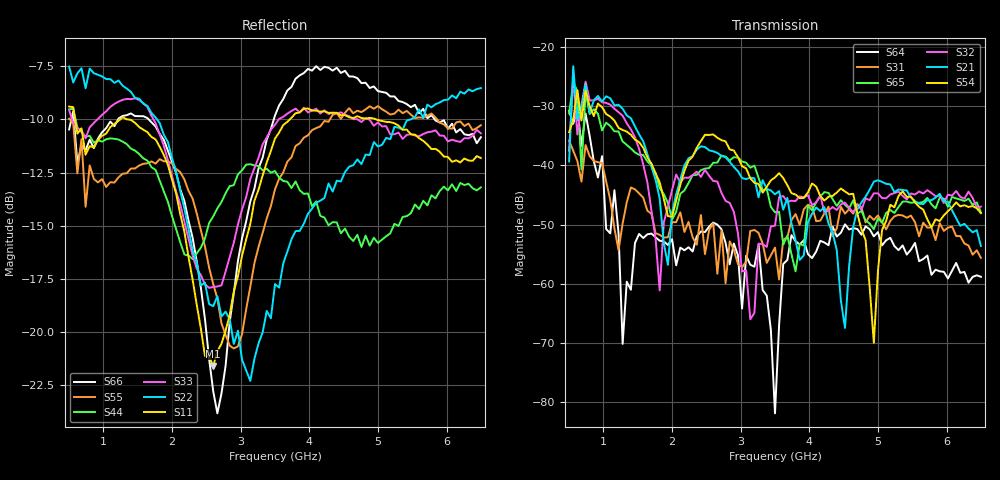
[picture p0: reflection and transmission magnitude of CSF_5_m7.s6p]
!Keysight Technologies,M9804A,MY58100912,A.14.10.03
!Date: Thursday, April 27, 2023 10:28:33
!Correction: S11(C  6-Port  )
!S12(C  6-Port  )
!S13(C  6-Port  )
!S14(C  6-Port  )
!S15(C  6-Port  )
!S16(C  6-Port  )
!S21(C  6-Port  )
!S22(C  6-Port  )
!S23(C  6-Port  )
!S24(C  6-Port  )
!S25(C  6-Port  )
!S26(C  6-Port  )
!S31(C  6-Port  )
!S32(C  6-Port  )
!S33(C  6-Port  )
!S34(C  6-Port  )
!S35(C  6-Port  )
!S36(C  6-Port  )
!S41(C  6-Port  )
!S42(C  6-Port  )
!S43(C  6-Port  )
!S44(C  6-Port  )
!S45(C  6-Port  )
!S46(C  6-Port  )
!S51(C  6-Port  )
!S52(C  6-Port  )
!S53(C  6-Port  )
!S54(C  6-Port  )
!S55(C  6-Port  )
!S56(C  6-Port  )
!S61(C  6-Port  )
!S62(C  6-Port  )
!S63(C  6-Port  )
!S64(C  6-Port  )
!S65(C  6-Port  )
!S66(C  6-Port  )
!S6P File: Measurement: :
# Hz S  RI  R 50
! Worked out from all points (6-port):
!   101 points, 500 MHz to 6.5 GHz, reference 50 ohm
!   strongest paths, dB at 500 MHz, 2 GHz, 3.5 GHz, 5 GHz, 6.5 GHz:
!     S54: -34.3, -48.7, -42.0, -57.9, -48.1
!     S21: -39.3, -48.0, -44.9, -42.5, -53.6
!     S32: -37.5, -44.1, -50.2, -44.7, -47.0
!     S65: -31.2, -49.2, -47.9, -49.0, -47.9
!     S31: -35.8, -49.6, -53.9, -48.5, -55.6
!     S64: -30.8, -52.5, -82.0, -51.3, -58.9
!   lowest |S11| = -21.6 dB at 2.6 GHz (marker M1), VSWR 1.18, Z = 42.6 + j2.06 ohm
!   |S11| at or under -10 dB: 587.9 MHz to 1.243 GHz (654.6 MHz wide, 71.5 % of centre); 1.361 GHz to 3.714 GHz (2.353 GHz wide, 92.7 % of centre); 4.975 GHz to end of sweep
